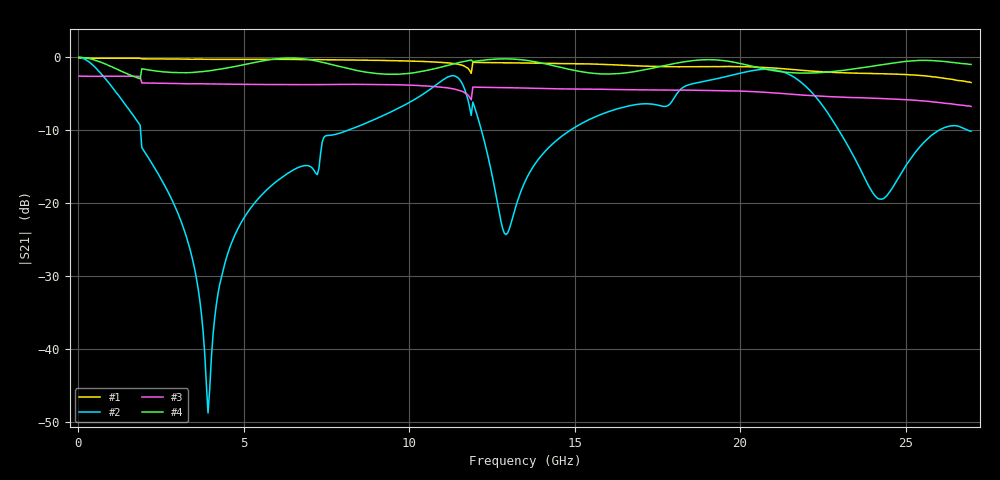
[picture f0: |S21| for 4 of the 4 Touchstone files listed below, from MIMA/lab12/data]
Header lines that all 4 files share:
#  HZ  S  MA  R  50.00
! Rohde & Schwarz ZVA67 4Ports - Version 4.11 - 1305.7002k04 SN: 101051
! Measurements: S11 S21 S12 S22
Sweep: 27 MHz to 26.98 GHz
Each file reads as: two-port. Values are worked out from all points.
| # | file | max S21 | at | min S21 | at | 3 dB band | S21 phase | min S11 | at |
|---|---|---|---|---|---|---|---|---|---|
| 1 | 2Ohm2.s2p | -0.12 dB | 77 MHz | -3.5 dB | 26.98 GHz | 27 MHz-26.48 GHz | -39 deg at 13.53 GHz | -33.4 dB | 27 MHz |
| 2 | 27nH_Johanson.s2p | -0.02 dB | 27 MHz | -48.8 dB | 3.927 GHz | 19.23 GHz-21.68 GHz | 31 deg at 13.53 GHz | -27.0 dB | 27 MHz |
| 3 | 51Ohm.s2p | -2.59 dB | 77 MHz | -6.8 dB | 26.98 GHz | 11.93 GHz-23.83 GHz | -31 deg at 13.53 GHz | -9.4 dB | 1.927 GHz |
| 4 | Beatty.s2p | 0.00 dB | 27 MHz | -3.0 dB | 1.877 GHz | 27 MHz-26.98 GHz | -25 deg at 13.53 GHz | -40.6 dB | 6.427 GHz |
